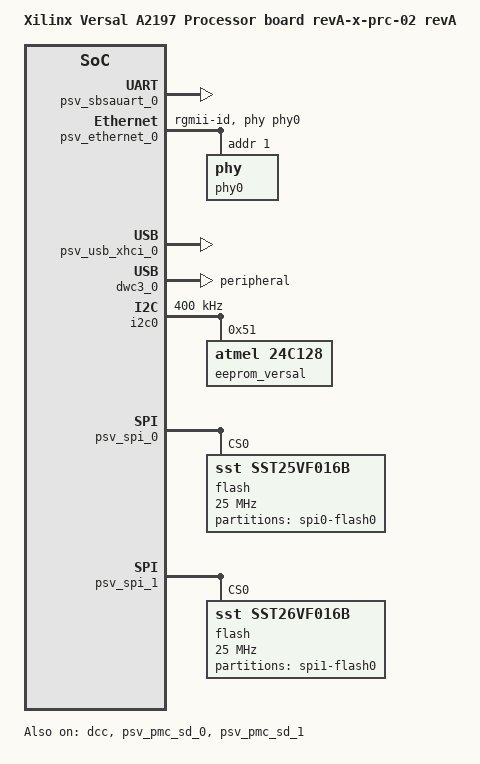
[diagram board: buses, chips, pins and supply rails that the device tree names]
// SPDX-License-Identifier: GPL-2.0
/*
 * dts file for Xilinx Versal X-PRC-02 revA (SE2)
 *
 * (C) Copyright 2019, Xilinx, Inc.
 *
 * Michal Simek <michal.simek@xilinx.com>
 */

/ {
	compatible = "xlnx,versal-vc-p-a2197-00-revA-x-prc-02-revA",
		     "xlnx,versal-vc-p-a2197-00-revA",
		     "xlnx,versal-vc-p-a2197-00",
		     "xlnx,versal-vc-p-a2197", "xlnx,versal";
	model = "Xilinx Versal A2197 Processor board revA-x-prc-02 revA";

	chosen {
		bootargs = "console=ttyAMA0 earlycon=pl011,mmio32,0xFF000000,115200n8 clk_ignore_unused";
		stdout-path = "serial0:115200";
	};

	aliases {
		serial0 = &psv_sbsauart_0;
		ethernet0 = &psv_ethernet_0;
		i2c0 = &psv_i2c_1;
		mmc0 = &psv_pmc_sd_0;
		mmc1 = &psv_pmc_sd_1;
		spi0 = &psv_spi_0;
		spi1 = &psv_sp1_0;
		usb0 = &psv_usb_xhci_0;
	};
};

&dcc {
        status = "okay";
};

&psv_sbsauart_0 {
	status = "okay";
};

&psv_ethernet_0 {
	status = "okay";
	phy-handle = <&phy0>; /* u9 */
	phy-mode = "rgmii-id";
	phy0: phy@1 { /* Marvell 88E1512; U9 */
		reg = <1>;
	};
};


&psv_pmc_sd_0 {
	status = "okay";
	xlnx,mio_bank = <1>;
	no-1-8-v;
};

&psv_pmc_sd_1 { /* U1A */
	status = "okay";
	non-removable;
	disable-wp;
	bus-width = <8>;
	xlnx,mio_bank = <0>;
	no-1-8-v;
};

&psv_usb_xhci_0 {
	status = "okay";
	xlnx,usb-polarity = <0>;
	xlnx,usb-reset-mode = <0>;
};

&dwc3_0 { /* U4 */
	status = "okay";
	dr_mode = "peripheral";
	snps,dis_u2_susphy_quirk;
	snps,dis_u3_susphy_quirk;
	maximum-speed = "high-speed";
};

&i2c0 {
	status = "okay";
	clock-frequency = <400000>;
	/* U12 Catalyst EEPROM - AT24 should be equivalent */
	eeprom_versal: eeprom@51 {
		compatible = "atmel,24c128";
		reg = <0x51>;
	};

	/* FIXME - U13 and U15 */
};

&psv_spi_0 {
	status = "okay";
	num-cs = <1>;

	flash@0 { /* U18 */
		#address-cells = <1>;
		#size-cells = <1>;
		compatible = "sst,sst25vf016b", "m25p80", "jedec,spi-nor";
		spi-max-frequency = <25000000>;
		reg = <0>;

		partition@0 {
			label = "spi0-flash0";
			reg = <0x0 0x200000>;
		};
	};
};

&psv_spi_1 {
	status = "okay";
	num-cs = <3>;	/* FIXME - check SPI1_SS0-2_B */

	flash@0 { /* U19 */
		#address-cells = <1>;
		#size-cells = <1>;
		compatible = "sst,sst26vf016b", "m25p80", "jedec,spi-nor";
		spi-max-frequency = <25000000>;
		reg = <0>;

		partition@0 {
			label = "spi1-flash0";
			reg = <0x0 0x200000>;
		};
	};
};
